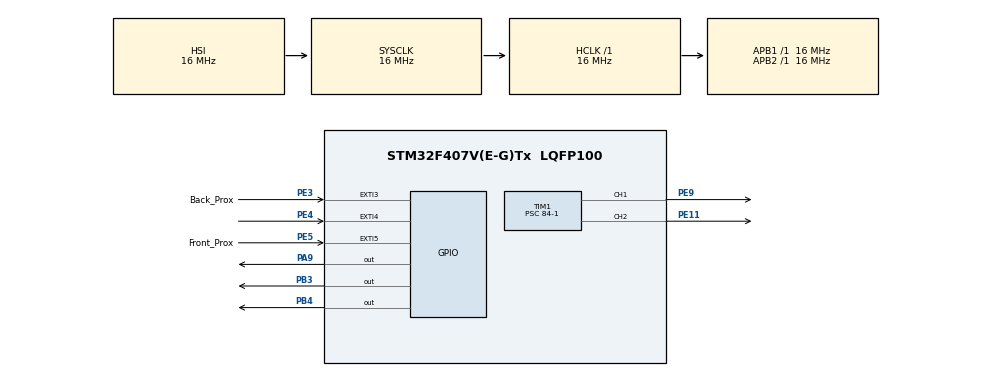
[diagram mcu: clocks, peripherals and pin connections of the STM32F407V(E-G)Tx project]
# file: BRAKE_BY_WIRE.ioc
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Mcu.Family=STM32F4
Mcu.Name=STM32F407V(E-G)Tx
Mcu.Package=LQFP100
NVIC.EXTI3_IRQn=true\:0\:0\:false\:false\:true\:true\:true\:true
NVIC.EXTI4_IRQn=true\:0\:0\:false\:false\:true\:true\:true\:true
NVIC.EXTI9_5_IRQn=true\:0\:0\:false\:false\:true\:true\:true\:true
NVIC.PriorityGroup=NVIC_PRIORITYGROUP_4
PA13.Mode=Serial_Wire
PA13.Signal=SYS_JTMS-SWDIO
PA14.Mode=Serial_Wire
PA14.Signal=SYS_JTCK-SWCLK
PA9.Signal=GPIO_Output
PB3.Signal=GPIO_Output
PB4.Signal=GPIO_Output
PC14-OSC32_IN.Mode=LSE-External-Oscillator
PC14-OSC32_IN.Signal=RCC_OSC32_IN
PC15-OSC32_OUT.Mode=LSE-External-Oscillator
PC15-OSC32_OUT.Signal=RCC_OSC32_OUT
PE11.Signal=S_TIM1_CH2
PE3.GPIO_Label=Back_Prox
PE3.GPIO_ModeDefaultEXTI=GPIO_MODE_IT_RISING_FALLING
PE3.GPIO_PuPd=GPIO_NOPULL
PE3.Signal=GPXTI3
PE4.GPIO_ModeDefaultEXTI=GPIO_MODE_IT_RISING_FALLING
PE4.GPIO_PuPd=GPIO_PULLUP
PE4.Signal=GPXTI4
PE5.GPIO_Label=Front_Prox
PE5.GPIO_ModeDefaultEXTI=GPIO_MODE_IT_RISING_FALLING
PE5.GPIO_PuPd=GPIO_NOPULL
PE5.Signal=GPXTI5
PE9.Signal=S_TIM1_CH1
PH0-OSC_IN.Mode=HSE-External-Oscillator
PH0-OSC_IN.Signal=RCC_OSC_IN
PH1-OSC_OUT.Mode=HSE-External-Oscillator
PH1-OSC_OUT.Signal=RCC_OSC_OUT
ProjectManager.HeapSize=0x200
ProjectManager.StackSize=0x400
ProjectManager.TargetToolchain=STM32CubeIDE
RCC.AHBFreq_Value=16000000
RCC.APB1Freq_Value=16000000
RCC.APB2Freq_Value=16000000
RCC.CortexFreq_Value=16000000
RCC.HSE_VALUE=25000000
RCC.HSI_VALUE=16000000
RCC.SYSCLKFreq_VALUE=16000000
RCC.VCOOutputFreq_Value=192000000
SH.S_TIM1_CH1.0=TIM1_CH1,PWM Generation1 CH1
SH.S_TIM1_CH2.0=TIM1_CH2,PWM Generation2 CH2
TIM1.Channel-PWM\ Generation1\ CH1=TIM_CHANNEL_1
TIM1.Channel-PWM\ Generation2\ CH2=TIM_CHANNEL_2
TIM1.Period=85-1
TIM1.Prescaler=84-1
VP_TIM1_VS_ClockSourceINT.Mode=Internal
VP_TIM2_VS_ClockSourceINT.Mode=Internal
board=custom

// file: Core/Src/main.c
/* USER CODE BEGIN Header */
/**
  ******************************************************************************
  * @file           : main.c
  * @brief          : Main program body
  ******************************************************************************
  * @attention
  *
  * Copyright (c) 2024 STMicroelectronics.
  * All rights reserved.
  *
  * This software is licensed under terms that can be found in the LICENSE file
  * in the root directory of this software component.
  * If no LICENSE file comes with this software, it is provided AS-IS.
  *
  ******************************************************************************
  */
/* USER CODE END Header */
#include "main.h"

TIM_HandleTypeDef htim1;
TIM_HandleTypeDef htim2;

void SystemClock_Config(void);
static void MX_GPIO_Init(void);
static void MX_TIM1_Init(void);
static void MX_TIM2_Init(void);

/* USER CODE BEGIN 0 */

extern volatile uint32_t falling_detected2; //proximity back
extern volatile uint32_t falling_detected; //proximity front
extern volatile uint32_t signal;
extern volatile uint32_t command;
extern volatile uint32_t pulsewidth;
volatile uint32_t duty1=0;
volatile uint32_t duty2=60;
volatile uint32_t duty3=60;
volatile uint32_t duty4=0;
extern volatile uint32_t starttime;
extern volatile uint32_t endtime;
extern volatile uint32_t pompa;
extern volatile uint32_t count;
/* USER CODE END 0 */

int main(void)
{

  /* MCU Configuration--------------------------------------------------------*/

  /* Reset of all peripherals, Initializes the Flash interface and the Systick. */
  HAL_Init();

  /* Configure the system clock */
  SystemClock_Config();

  /* Initialize all configured peripherals */
  MX_GPIO_Init();
  MX_TIM1_Init();
  MX_TIM2_Init();
  /* USER CODE BEGIN 2 */

HAL_TIM_PWM_Start(&htim1, TIM_CHANNEL_1);// Motor rigt PWM
HAL_TIM_PWM_Start(&htim1, TIM_CHANNEL_2);// Motor left PWM
HAL_GPIO_WritePin(GPIOB, GPIO_PIN_4,ENABLE);// Brake right enable
HAL_GPIO_WritePin(GPIOB, GPIO_PIN_3,ENABLE);// Brake left enable

  /* USER CODE END 2 */

  /* Infinite loop */
  while (1)
  {

    /* USER CODE BEGIN 3 */

	  if(signal == 1){//if remote control sends 1
	 			if(falling_detected2==1){//if back prox reads the object
	 			  		while(1){

	 			  			__HAL_TIM_SET_COMPARE(&htim1, TIM_CHANNEL_1, 0);
	 			  			__HAL_TIM_SET_COMPARE(&htim1, TIM_CHANNEL_2, 0);

	 			  			if(signal != 1||falling_detected2==0){
	 			  				break;
	 			  			}
	 			  		}
	 			  	}

	 	  	__HAL_TIM_SET_COMPARE(&htim1, TIM_CHANNEL_1, 0);
	 	  	__HAL_TIM_SET_COMPARE(&htim1, TIM_CHANNEL_2, duty2);

	 	  }

	 	  if(signal == 0){//if remote control sends 1
	 			if(falling_detected==1){//if front prox reads the object
	 			  		while(1){
	 			  			__HAL_TIM_SET_COMPARE(&htim1, TIM_CHANNEL_1, 0);
	 			  			__HAL_TIM_SET_COMPARE(&htim1, TIM_CHANNEL_2, 0);

	 			  			if(signal != 0||falling_detected==0){
	 			  				pompa=0;
	 			  				break;
	 			  			}
	 			  		}
	 			  	}
	 	  	__HAL_TIM_SET_COMPARE(&htim1, TIM_CHANNEL_1, duty3);
	 	  	__HAL_TIM_SET_COMPARE(&htim1, TIM_CHANNEL_2, 0);

	 	  }
  }
  /* USER CODE END 3 */
}

void SystemClock_Config(void)
{
  RCC_OscInitTypeDef RCC_OscInitStruct = {0};
  RCC_ClkInitTypeDef RCC_ClkInitStruct = {0};

  /** Configure the main internal regulator output voltage
  */
  __HAL_RCC_PWR_CLK_ENABLE();
  __HAL_PWR_VOLTAGESCALING_CONFIG(PWR_REGULATOR_VOLTAGE_SCALE1);

  /** Initializes the RCC Oscillators according to the specified parameters
  * in the RCC_OscInitTypeDef structure.
  */
  RCC_OscInitStruct.OscillatorType = RCC_OSCILLATORTYPE_HSI;
  RCC_OscInitStruct.HSIState = RCC_HSI_ON;
  RCC_OscInitStruct.HSICalibrationValue = RCC_HSICALIBRATION_DEFAULT;
  RCC_OscInitStruct.PLL.PLLState = RCC_PLL_NONE;
  if (HAL_RCC_OscConfig(&RCC_OscInitStruct) != HAL_OK)
  {
    Error_Handler();
  }

  /** Initializes the CPU, AHB and APB buses clocks
  */
  RCC_ClkInitStruct.ClockType = RCC_CLOCKTYPE_HCLK|RCC_CLOCKTYPE_SYSCLK
                              |RCC_CLOCKTYPE_PCLK1|RCC_CLOCKTYPE_PCLK2;
  RCC_ClkInitStruct.SYSCLKSource = RCC_SYSCLKSOURCE_HSI;
  RCC_ClkInitStruct.AHBCLKDivider = RCC_SYSCLK_DIV1;
  RCC_ClkInitStruct.APB1CLKDivider = RCC_HCLK_DIV1;
  RCC_ClkInitStruct.APB2CLKDivider = RCC_HCLK_DIV1;

  if (HAL_RCC_ClockConfig(&RCC_ClkInitStruct, FLASH_LATENCY_0) != HAL_OK)
  {
    Error_Handler();
  }
}

static void MX_TIM1_Init(void)
{

  TIM_ClockConfigTypeDef sClockSourceConfig = {0};
  TIM_MasterConfigTypeDef sMasterConfig = {0};
  TIM_OC_InitTypeDef sConfigOC = {0};
  TIM_BreakDeadTimeConfigTypeDef sBreakDeadTimeConfig = {0};

  htim1.Instance = TIM1;
  htim1.Init.Prescaler = 84-1;
  htim1.Init.CounterMode = TIM_COUNTERMODE_UP;
  htim1.Init.Period = 85-1;
  htim1.Init.ClockDivision = TIM_CLOCKDIVISION_DIV1;
  htim1.Init.RepetitionCounter = 0;
  htim1.Init.AutoReloadPreload = TIM_AUTORELOAD_PRELOAD_DISABLE;
  if (HAL_TIM_Base_Init(&htim1) != HAL_OK)
  {
    Error_Handler();
  }
  sClockSourceConfig.ClockSource = TIM_CLOCKSOURCE_INTERNAL;
  if (HAL_TIM_ConfigClockSource(&htim1, &sClockSourceConfig) != HAL_OK)
  {
    Error_Handler();
  }
  if (HAL_TIM_PWM_Init(&htim1) != HAL_OK)
  {
    Error_Handler();
  }
  sMasterConfig.MasterOutputTrigger = TIM_TRGO_RESET;
  sMasterConfig.MasterSlaveMode = TIM_MASTERSLAVEMODE_DISABLE;
  if (HAL_TIMEx_MasterConfigSynchronization(&htim1, &sMasterConfig) != HAL_OK)
  {
    Error_Handler();
  }
  sConfigOC.OCMode = TIM_OCMODE_PWM1;
  sConfigOC.Pulse = 0;
  sConfigOC.OCPolarity = TIM_OCPOLARITY_HIGH;
  sConfigOC.OCNPolarity = TIM_OCNPOLARITY_HIGH;
  sConfigOC.OCFastMode = TIM_OCFAST_DISABLE;
  sConfigOC.OCIdleState = TIM_OCIDLESTATE_RESET;
  sConfigOC.OCNIdleState = TIM_OCNIDLESTATE_RESET;
  if (HAL_TIM_PWM_ConfigChannel(&htim1, &sConfigOC, TIM_CHANNEL_1) != HAL_OK)
  {
    Error_Handler();
  }
  if (HAL_TIM_PWM_ConfigChannel(&htim1, &sConfigOC, TIM_CHANNEL_2) != HAL_OK)
  {
    Error_Handler();
  }
  sBreakDeadTimeConfig.OffStateRunMode = TIM_OSSR_DISABLE;
  sBreakDeadTimeConfig.OffStateIDLEMode = TIM_OSSI_DISABLE;
  sBreakDeadTimeConfig.LockLevel = TIM_LOCKLEVEL_OFF;
  sBreakDeadTimeConfig.DeadTime = 0;
  sBreakDeadTimeConfig.BreakState = TIM_BREAK_DISABLE;
  sBreakDeadTimeConfig.BreakPolarity = TIM_BREAKPOLARITY_HIGH;
  sBreakDeadTimeConfig.AutomaticOutput = TIM_AUTOMATICOUTPUT_DISABLE;
  if (HAL_TIMEx_ConfigBreakDeadTime(&htim1, &sBreakDeadTimeConfig) != HAL_OK)
  {
    Error_Handler();
  }
  HAL_TIM_MspPostInit(&htim1);

}

static void MX_TIM2_Init(void)
{

  TIM_ClockConfigTypeDef sClockSourceConfig = {0};
  TIM_MasterConfigTypeDef sMasterConfig = {0};

  htim2.Instance = TIM2;
  htim2.Init.Prescaler = 0;
  htim2.Init.CounterMode = TIM_COUNTERMODE_UP;
  htim2.Init.Period = 4294967295;
  htim2.Init.ClockDivision = TIM_CLOCKDIVISION_DIV1;
  htim2.Init.AutoReloadPreload = TIM_AUTORELOAD_PRELOAD_DISABLE;
  if (HAL_TIM_Base_Init(&htim2) != HAL_OK)
  {
    Error_Handler();
  }
  sClockSourceConfig.ClockSource = TIM_CLOCKSOURCE_INTERNAL;
  if (HAL_TIM_ConfigClockSource(&htim2, &sClockSourceConfig) != HAL_OK)
  {
    Error_Handler();
  }
  sMasterConfig.MasterOutputTrigger = TIM_TRGO_RESET;
  sMasterConfig.MasterSlaveMode = TIM_MASTERSLAVEMODE_DISABLE;
  if (HAL_TIMEx_MasterConfigSynchronization(&htim2, &sMasterConfig) != HAL_OK)
  {
    Error_Handler();
  }

}

static void MX_GPIO_Init(void)
{
  GPIO_InitTypeDef GPIO_InitStruct = {0};

  /* GPIO Ports Clock Enable */
  __HAL_RCC_GPIOE_CLK_ENABLE();
  __HAL_RCC_GPIOC_CLK_ENABLE();
  __HAL_RCC_GPIOH_CLK_ENABLE();
  __HAL_RCC_GPIOA_CLK_ENABLE();
  __HAL_RCC_GPIOB_CLK_ENABLE();

  /*Configure GPIO pin Output Level */
  HAL_GPIO_WritePin(GPIOA, GPIO_PIN_9, GPIO_PIN_RESET);

  /*Configure GPIO pin Output Level */
  HAL_GPIO_WritePin(GPIOB, GPIO_PIN_3|GPIO_PIN_4, GPIO_PIN_RESET);

  /*Configure GPIO pins : Back_Prox_Pin Front_Prox_Pin */
  GPIO_InitStruct.Pin = Back_Prox_Pin|Front_Prox_Pin;
  GPIO_InitStruct.Mode = GPIO_MODE_IT_RISING_FALLING;
  GPIO_InitStruct.Pull = GPIO_NOPULL;
  HAL_GPIO_Init(GPIOE, &GPIO_InitStruct);

  /*Configure GPIO pin : PE4 */
  GPIO_InitStruct.Pin = GPIO_PIN_4;
  GPIO_InitStruct.Mode = GPIO_MODE_IT_RISING_FALLING;
  GPIO_InitStruct.Pull = GPIO_PULLUP;
  HAL_GPIO_Init(GPIOE, &GPIO_InitStruct);

  /*Configure GPIO pin : PA9 */
  GPIO_InitStruct.Pin = GPIO_PIN_9;
  GPIO_InitStruct.Mode = GPIO_MODE_OUTPUT_PP;
  GPIO_InitStruct.Pull = GPIO_NOPULL;
  GPIO_InitStruct.Speed = GPIO_SPEED_FREQ_LOW;
  HAL_GPIO_Init(GPIOA, &GPIO_InitStruct);

  /*Configure GPIO pins : PB3 PB4 */
  GPIO_InitStruct.Pin = GPIO_PIN_3|GPIO_PIN_4;
  GPIO_InitStruct.Mode = GPIO_MODE_OUTPUT_PP;
  GPIO_InitStruct.Pull = GPIO_NOPULL;
  GPIO_InitStruct.Speed = GPIO_SPEED_FREQ_LOW;
  HAL_GPIO_Init(GPIOB, &GPIO_InitStruct);

  /* EXTI interrupt init*/
  HAL_NVIC_SetPriority(EXTI3_IRQn, 0, 0);
  HAL_NVIC_EnableIRQ(EXTI3_IRQn);

  HAL_NVIC_SetPriority(EXTI4_IRQn, 0, 0);
  HAL_NVIC_EnableIRQ(EXTI4_IRQn);

  HAL_NVIC_SetPriority(EXTI9_5_IRQn, 0, 0);
  HAL_NVIC_EnableIRQ(EXTI9_5_IRQn);

}

void Error_Handler(void)
{
  __disable_irq();
  while (1)
  {
  }
}
